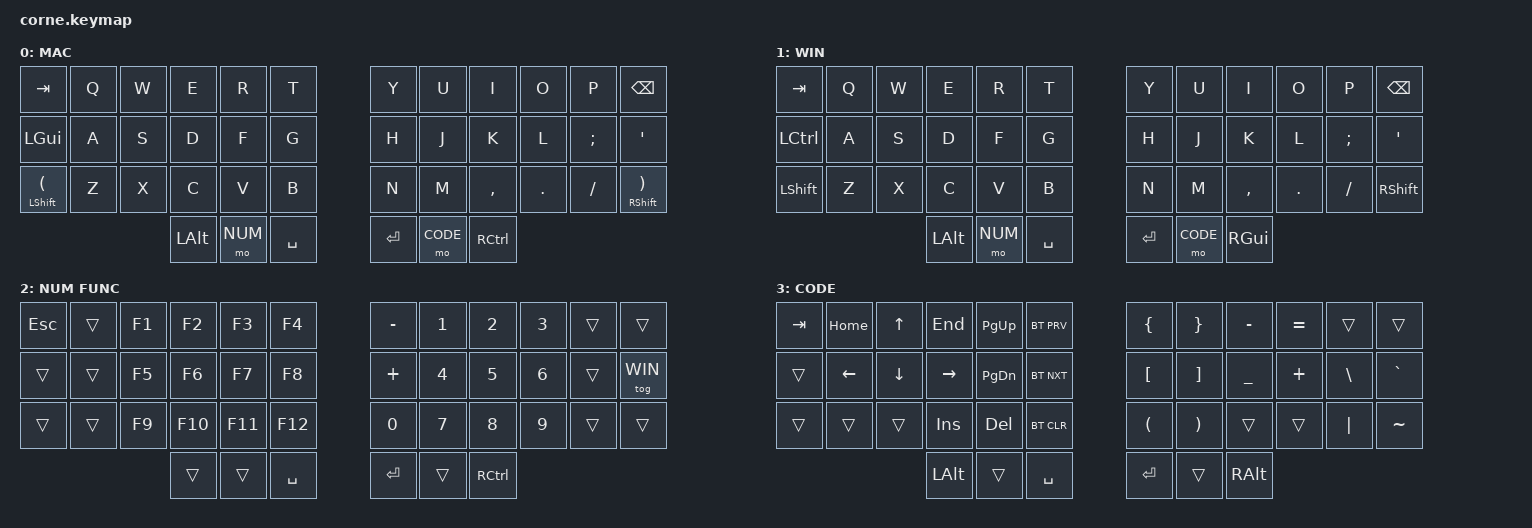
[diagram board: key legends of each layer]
/*
 * Copyright (c) 2020 The ZMK Contributors
 *
 * SPDX-License-Identifier: MIT
 */

#include <behaviors.dtsi>
#include <dt-bindings/zmk/keys.h>
#include <dt-bindings/zmk/bt.h>

#define MAIN     0
#define WIN      1
#define NUM      2
#define CODE     3

&mt {
    tapping-term-ms = <400>;
};

/ {
        keymap {
                compatible = "zmk,keymap";

                default_layer {
                label = "MAC";
// -----------------------------------------------------------------------------------------
// |  TAB |  Q  |  W  |  E  |  R  |  T  |   |  Y  |  U   |  I  |  O  |  P  | BKSP |
// |  GUI |  A  |  S  |  D  |  F  |  G  |   |  H  |  J   |  K  |  L  |  ;  |  '   |
// | SHFT |  Z  |  X  |  C  |  V  |  B  |   |  N  |  M   |  ,  |  .  |  /  | SHFT | 
//                    | ALT | NUM | SPC |   | ENT | CODE | ALT |
                        bindings = <
   &kp TAB         &kp Q &kp W &kp E &kp R &kp T       &kp Y &kp U  &kp I     &kp O   &kp P    &kp BSPC
   &kp LGUI        &kp A &kp S &kp D &kp F &kp G       &kp H &kp J  &kp K     &kp L   &kp SEMI &kp SQT
   &mt LSHFT LPAR  &kp Z &kp X &kp C &kp V &kp B       &kp N &kp M  &kp COMMA &kp DOT &kp FSLH &mt RSHFT RPAR
                   &kp LALT &mo NUM &kp SPACE          &kp RET &mo CODE &kp RCTRL
                        >;
                };
                win_layer {
                label = "WIN";
// -----------------------------------------------------------------------------------------
// |  TAB |  Q  |  W  |  E  |  R  |  T  |   |  Y  |  U   |  I  |  O  |  P  | BKSP |
// | CTRL |  A  |  S  |  D  |  F  |  G  |   |  H  |  J   |  K  |  L  |  ;  |  '   |
// | SHFT |  Z  |  X  |  C  |  V  |  B  |   |  N  |  M   |  ,  |  .  |  /  | SHFT |
//                    | ALT | NUM | SPC |   | ENT | CODE | ALT |
                        bindings = <
   &kp TAB    &kp Q &kp W &kp E &kp R &kp T       &kp Y   &kp U    &kp I     &kp O   &kp P    &kp BSPC
   &kp LCTRL  &kp A &kp S &kp D &kp F &kp G       &kp H   &kp J    &kp K     &kp L   &kp SEMI &kp SQT
   &kp LSHFT  &kp Z &kp X &kp C &kp V &kp B       &kp N   &kp M    &kp COMMA &kp DOT &kp FSLH &kp RSHFT
                  &kp LALT &mo NUM &kp SPACE      &kp RET &mo CODE &kp RGUI
                        >;
                };
                num_layer {
                label = "NUM FUNC";
// -----------------------------------------------------------------------------------------
// |  ESC |     |  F1 |  F2 |  F3 |  F4 |   |  1  |  2  |  3  |     |     |       |
// |      |     |  F5 |  F6 |  F7 |  F8 |   |  4  |  5  |  6  |     |     |       |
// |      |     |  F9 |  F10|  F11|  F12|   |  7  |  8  |  9  |  0  |     | BTCLR |
//                    |     |     | SPC |   | ENT |     | RCTL|
                        bindings = <
   &kp ESC &trans &kp F1       &kp F2       &kp F3      &kp F4        &kp MINUS &kp N1   &kp N2   &kp N3  &trans   &trans
   &trans  &trans &kp F5       &kp F6       &kp F7      &kp F8        &kp PLUS  &kp N4   &kp N5   &kp N6  &trans   &tog WIN
   &trans  &trans &kp F9       &kp F10      &kp F11     &kp F12       &kp N0    &kp N7   &kp N8   &kp N9  &trans   &trans 
                               &trans       &trans      &kp SPACE     &kp RET  &trans   &kp RCTRL
                        >;
                };

                code_layer {
                label = "CODE";
// -----------------------------------------------------------------------------------------
// | TAB  |HOME |  UP | END | PGUP| BT0 |   |  {  |  }  |  -  |  =  |     |      |
// |      |LEFT |DOWN |RIGHT| PGDN| BT1 |   |  [  |  ]  |  _  |  +  |  \  |  `   |
// |      |     |     | INS | DEL | BT2 |   |  (  |  )  |     |     | "|" |  ~   |
//                    | ALT |     | SPC |   | ENT |     | ALT |
                        bindings = <
   &kp TAB  &kp HOME   &kp UP     &kp END         &kp PG_UP   &bt BT_PRV    &kp LBRC    &kp RBRC    &kp MINUS  &kp EQUAL &trans   &trans
   &trans   &kp LEFT   &kp DOWN   &kp RIGHT       &kp PG_DN   &bt BT_NXT    &kp LBKT    &kp RBKT    &kp UNDER  &kp PLUS  &kp BSLH &kp GRAVE
   &trans   &trans     &trans     &kp INS         &kp DEL     &bt BT_CLR    &kp LPAR    &kp RPAR    &trans     &trans    &kp PIPE &kp TILDE
                    	          &kp LALT        &trans      &kp SPACE     &kp RET     &trans      &kp RALT
                        >;
                };
        };
};
